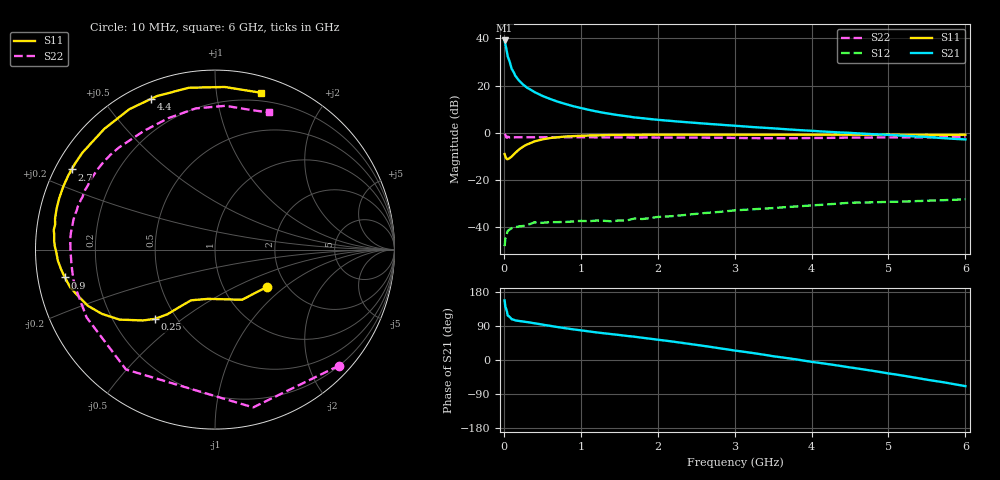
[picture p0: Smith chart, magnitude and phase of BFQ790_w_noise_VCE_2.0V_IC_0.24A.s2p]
! Infineon Technologies  Discrete & RF Semiconductors
! BFQ790
! VCE =  2.0 V,  IC = 0.24 A
! Common Emitter S-Parameters:  May 2015
# GHz  S  MA  R  50
!  f  S11  S21  S12  S22
! GHz  MAG  ANG  MAG  ANG  MAG  ANG  MAG  ANG
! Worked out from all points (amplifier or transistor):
!   77 points, 10 MHz to 6 GHz, reference 50 ohm
!   highest |S21| = 39.1 dB at 10 MHz (marker M1)
!   |S21| within 3 dB of that: start of sweep to 29.11 MHz
!   unconditionally stable (mu >= 1): 236.1 MHz to 395 MHz; 413.1 MHz to 493.8 MHz; 619.9 MHz to end of sweep
!   at 130 MHz: K = 0.73, MSG = 32.8 dB, |S12| = -40.1 dB
!   at 2.2 GHz: K = 1.29, MAG = 16.9 dB, |S12| = -35.2 dB
!   at 6 GHz: K = 1.09, MAG = 10.8 dB, |S12| = -28.1 dB
!   lowest NFmin = 3.64 dB at 1.5 GHz
!   S11 on the Smith chart (normalised r, x): 10 MHz: 1.59, -0.76; 250 MHz: 0.38, -0.40; 900 MHz: 0.08, -0.09; 2.7 GHz: 0.05, +0.26; 4.4 GHz: 0.07, +0.66; 6 GHz: 0.13, +1.32
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0.01  0.3557 -35.9  89.8 157.3  0.004 67.2  0.9469 -43.0
0.02  0.3174 -61.7  74.41 140.1  0.0058 49.1  0.9046 -76.4
0.05  0.2771 -97.9  41.52 117.4  0.0084 28.1  0.8321 -126.6
0.1  0.3125 -115.3  22.87 107.6  0.0096 19.7  0.8091 -152.2
0.15  0.3767 -121.8  16.02 104.6  0.0101 18.0  0.8038 -162.6
0.2  0.4466 -126.3  12.57 102.9  0.0105 20.8  0.8066 -168.0
0.25  0.5106 -130.9  10.49 101.5  0.0107 18.0  0.8042 -171.7
0.3  0.5646 -135.6  9.036 100.1  0.0111 15.2  0.8037 -174.5
0.4  0.6591 -143.7  7.235 96.8  0.0128 16.9  0.8044 -178.6
0.5  0.7249 -150.4  6.046 93.4  0.0125 10.9  0.8062 178.4
0.6  0.7748 -156.2  5.213 90.2  0.0129 12.5  0.8085 175.8
0.7  0.8056 -161.3  4.555 86.9  0.0129 14.1  0.8084 173.6
0.9  0.8503 -169.5  3.661 80.9  0.0133 11.9  0.8057 170.1
1.1  0.8778 -176.0  3.071 75.6  0.0135 14.2  0.8047 166.7
1.5  0.8995 174.8  2.348 66.0  0.014 16.6  0.7986 161.0
2.1  0.912 163.6  1.824 51.1  0.0169 15.5  0.7934 152.1
2.7  0.9149 150.8  1.528 34.2  0.0206 10.9  0.7876 140.1
3.1  0.9117 141.6  1.373 22.3  0.0234 6.0  0.7762 130.9
4.1  0.9135 119.3  1.076 -7.5  0.0298 -8.9  0.7779 107.2
4.4  0.9124 112.9  1.012 -16.4  0.0323 -14.9  0.7879 100.1
5.1  0.9088 96.7  0.885 -38.4  0.0349 -29.3  0.8012 83.8
6  0.9104 73.8  0.725 -69.1  0.0393 -51.1  0.8212 68.5
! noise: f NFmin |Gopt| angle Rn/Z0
0.45  6.01  0.5  143  0.58
0.9  4.24  0.62  168  0.19
1.5  3.64  0.73  -172  0.1
1.8  3.67  0.73  -166  0.12
2.6  3.87  0.76  -151  0.31
3.5  4.37  0.85  -134  0.65
